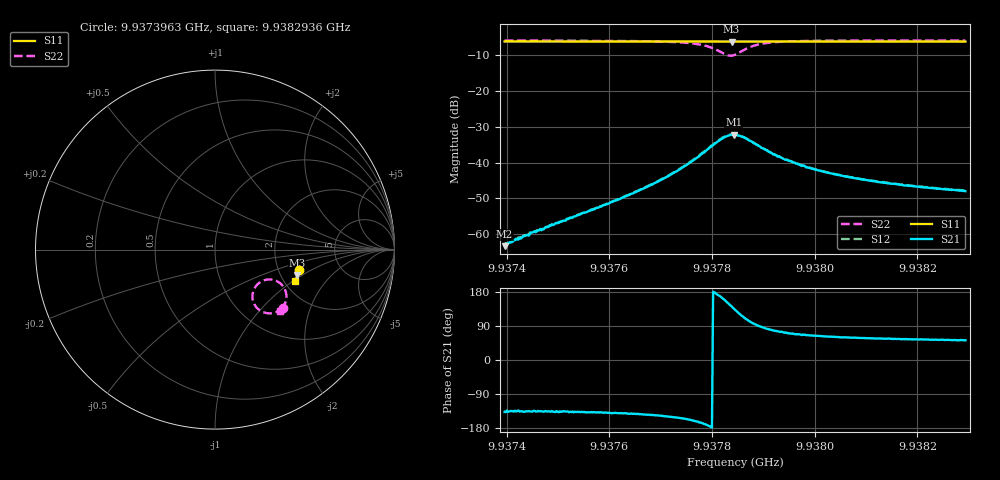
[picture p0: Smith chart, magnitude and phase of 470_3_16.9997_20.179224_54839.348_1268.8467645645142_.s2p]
#  HZ  S  RI  R  50.00
! Rohde & Schwarz Vector Network Analyzer
! Rohde-Schwarz,ZNB20-2Port,1311601062101988,3.16
! Created: UTC 3/20/2024, 11:13:09 PM
! freq[Hz]  re:S11  im:S11  re:S21  im:S21  re:S12  im:S12  re:S22  im:S22
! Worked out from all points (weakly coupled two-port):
!   401 points, 9.9373963 GHz to 9.9382936 GHz, reference 50 ohm
!   highest |S21| = -32.29 dB at 9.9378427 GHz (marker M1); lowest = -63.3 dB at 9.9373963 GHz (marker M2)
!   lowest |S11| = -6.4 dB at 9.9378382 GHz (marker M3), VSWR 2.83, Z = 122 - j45.1 ohm
!   |S11| at or under -10 dB: nowhere
!   |S22| runs from -10.3 to -6.1 dB; largest |S21 - S12| = 0.001
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9.93739627e9  0.4694 -0.1148  -0.000501 -0.00047  -0.00052 -0.000543  0.378 -0.3231
9.93740524e9  0.4691 -0.1155  -0.000547 -0.000532  -0.000542 -0.000555  0.3773 -0.324
9.93745011e9  0.4682 -0.1185  -0.000766 -0.00074  -0.00075 -0.000743  0.373 -0.3275
9.93754657e9  0.4661 -0.1249  -0.00143 -0.00134  -0.00146 -0.00132  0.3625 -0.3355
9.9376206e9  0.4642 -0.1299  -0.00239 -0.00197  -0.00247 -0.00199  0.3502 -0.3431
9.93769688e9  0.4624 -0.1351  -0.00463 -0.00303  -0.00473 -0.00304  0.3277 -0.3524
9.93774623e9  0.4609 -0.1384  -0.00798 -0.00374  -0.00819 -0.00366  0.2976 -0.3551
9.93778886e9  0.4589 -0.1413  -0.0145 -0.00235  -0.0149 -0.002  0.2463 -0.3362
9.93780456e9  0.458 -0.1419  -0.0179 0.000422  -0.0184 0.00102  0.2219 -0.3092
9.93781802e9  0.4574 -0.1424  -0.0205 0.00522  -0.0206 0.00592  0.2088 -0.2689
9.93782924e9  0.4568 -0.1424  -0.0205 0.0107  -0.0207 0.0114  0.2152 -0.2259
9.93783821e9  0.4567 -0.1424  -0.019 0.015  -0.0187 0.016  0.2363 -0.1939
9.9378427e9  0.4569 -0.1425  -0.0173 0.017  -0.017 0.0177  0.2516 -0.1815
9.93784494e9  0.4569 -0.1426  -0.0163 0.0179  -0.0161 0.0186  0.2596 -0.1766
9.93785616e9  0.457 -0.1427  -0.0113 0.0203  -0.0107 0.0209  0.3036 -0.1661
9.93787186e9  0.4575 -0.1436  -0.00471 0.0198  -0.00416 0.0203  0.3529 -0.1803
9.93789654e9  0.4576 -0.1456  0.000654 0.0159  0.00118 0.0163  0.3883 -0.2199
9.93793916e9  0.4571 -0.1489  0.00331 0.0108  0.00343 0.0109  0.3976 -0.266
9.93799525e9  0.4558 -0.1529  0.00351 0.00738  0.00367 0.00745  0.3919 -0.2955
9.93805806e9  0.454 -0.1571  0.00325 0.00555  0.00337 0.00558  0.3838 -0.3125
9.93814555e9  0.4517 -0.163  0.00283 0.00429  0.00295 0.00425  0.3746 -0.3263
9.93829362e9  0.4476 -0.1724  0.00246 0.00315  0.00253 0.00318  0.3622 -0.3407
